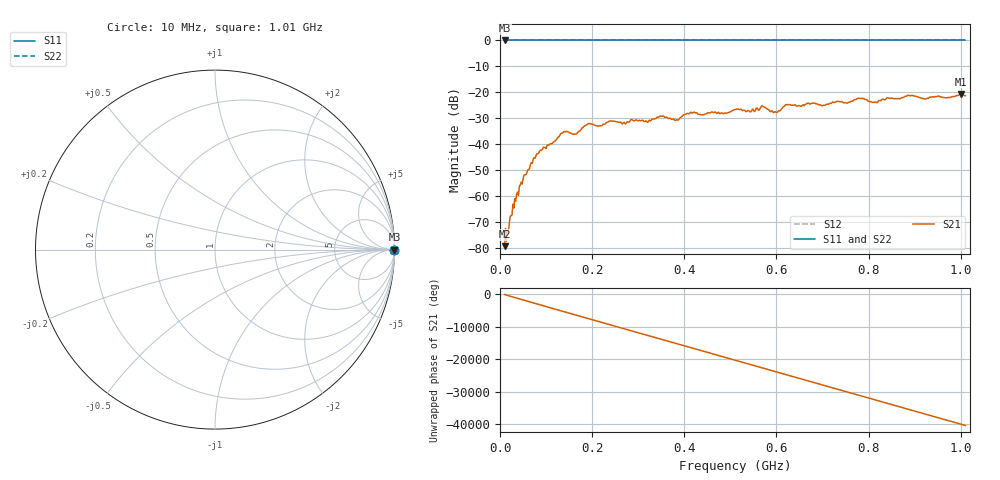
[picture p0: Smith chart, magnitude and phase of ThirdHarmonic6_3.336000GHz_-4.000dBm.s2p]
! 8/17/2025 10:29:26 AM
! C:\ANRITSUVNA\TEMP\TEMP.S2P
! CHANNEL.1
! TR.MEASUREMENT
! RAW.DATA
! RF.CORRECTION.OFF
! AVERAGING.OFF
! IF.BANDWIDTH: 5KHZ
! SWEEPTYPE:  FREQ.SWEEP(Linear)
! Reference Plane Port Info
! PORT:  PORT1  PORT2
! DISTANCE:  0  m  0  m
! TIME:  0  s  0  s
! PHASE.OFFSET:  0  deg.  0  deg.
! LOSS:  0  dB  0  dB
! REF.LOSS:  0  dB  0  dB
! REF.FREQ:  0  Hz  0  Hz
! Power Info
! POWER:  -20  dBm  -20  dBm
! EFF.POWER:  -20  dBm  -20  dBm
! SOURCE.ATTEN:  0  dB  0  dB
! TEST.ATTEN:  0  dB  0  dB
# GHZ S RI R 50.0
! FREQ.GHZ  S11RE  S11IM  S21RE  S21IM  S12RE  S12IM  S22RE  S22IM
!; PortSelection: Port_12
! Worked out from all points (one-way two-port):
!   501 points, 10 MHz to 1.01 GHz, reference 50 ohm
!   highest |S21| = -20.68 dB at 1 GHz (marker M1); lowest = -79.4 dB at 10 MHz (marker M2)
!   lowest |S11| = 0.0 dB at 10 MHz (marker M3)
!   |S11| at or under -10 dB: nowhere
!   |S22| runs from 0.0 to 0.0 dB; largest |S21 - S12| = 1.1
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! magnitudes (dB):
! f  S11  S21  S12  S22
! 10 MHz  0.0  -79.4  0.0  0.0
! 40 MHz  0.0  -59.8  0.0  0.0
! 76 MHz  0.0  -45.5  0.0  0.0
! 136 MHz  0.0  -35.7  0.0  0.0
! 162 MHz  0.0  -36.2  0.0  0.0
! 178 MHz  0.0  -33.8  0.0  0.0
! 194 MHz  0.0  -32.1  0.0  0.0
! 318 MHz  0.0  -31.3  0.0  0.0
! 344 MHz  0.0  -29.6  0.0  0.0
! 384 MHz  0.0  -30.6  0.0  0.0
! 418 MHz  0.0  -28.0  0.0  0.0
! 510 MHz  0.0  -26.7  0.0  0.0
! 572 MHz  0.0  -25.5  0.0  0.0
! 598 MHz  0.0  -27.5  0.0  0.0
! 624 MHz  0.0  -24.7  0.0  0.0
! 678 MHz  0.0  -24.2  0.0  0.0
! 702 MHz  0.0  -25.0  0.0  0.0
! 782 MHz  0.0  -22.4  0.0  0.0
! 814 MHz  0.0  -23.8  0.0  0.0
! 844 MHz  0.0  -22.3  0.0  0.0
! 1 GHz  0.0  -20.7  0.0  0.0
! 1.01 GHz  0.0  -21.3  0.0  0.0
